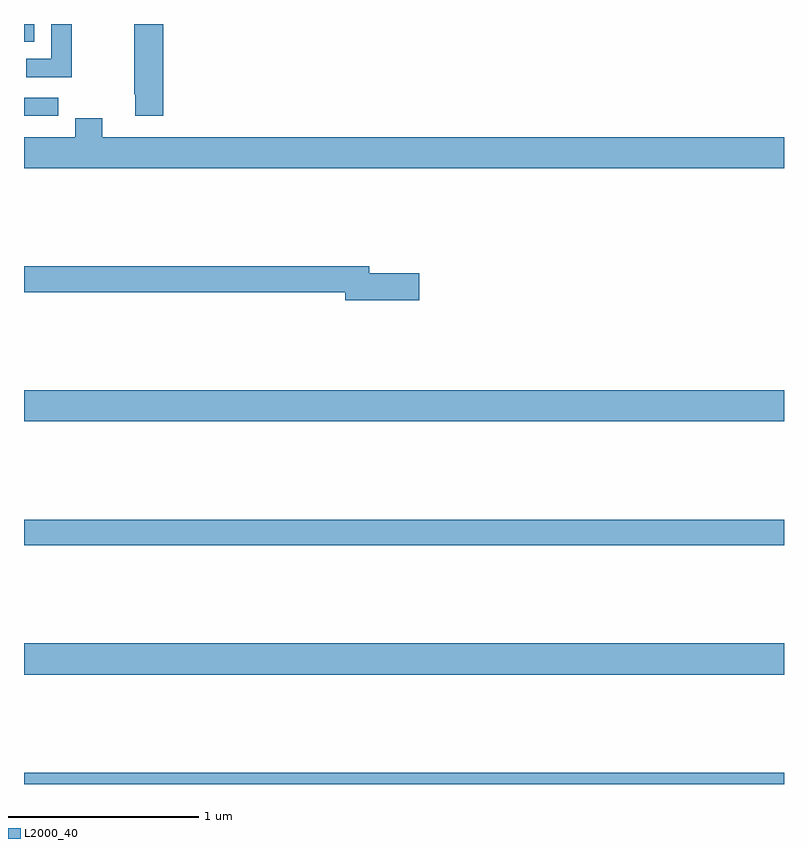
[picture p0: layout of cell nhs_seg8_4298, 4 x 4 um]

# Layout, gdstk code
import gdstk
lib = gdstk.Library(unit=1e-6, precision=1e-09)
def R(c, l, rs):  # rectangles x0, y0, x1, y1
    for r in rs: c.add(gdstk.rectangle(r[:2], r[2:], *l))
def P(c, l, *ps):  # polygons
    for p in ps: c.add(gdstk.Polygon(p, *l))
L2000_40 = (2000, 40)

nhs_seg8_4298 = lib.new_cell('nhs_seg8_4298')
R(nhs_seg8_4298, L2000_40, [(373,1139.9,377,1139.96), (373,1140.476,377,1140.64), (373,1141.156,377,1141.292), (373,1141.808,377,1141.972), (373,1143.417,373.18,1143.513), (373,1143.806,373.053,1143.9)])
P(nhs_seg8_4298, L2000_40, [(373.733,1143.9),(373.579,1143.9),(373.579,1143.529),(373.586,1143.529),(373.586,1143.417),(373.733,1143.417)],
  [(373.252,1143.9),(373.143,1143.9),(373.143,1143.717),(373.011,1143.717),(373.011,1143.621),(373.252,1143.621)],
  [(377,1143.304),(373.411,1143.304),(373.411,1143.403),(373.271,1143.403),(373.271,1143.304),(373,1143.304),(373,1143.14),(377,1143.14)],
  [(375.079,1142.588),(374.818,1142.588),(374.818,1142.624),(373,1142.624),(373,1142.488),(374.69,1142.488),(374.69,1142.446),(375.079,1142.446)])

lib.write_gds('nhs_seg8_4298.gds')
